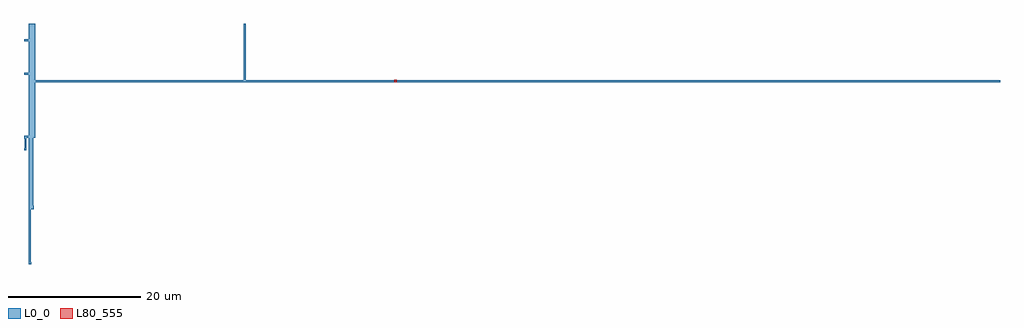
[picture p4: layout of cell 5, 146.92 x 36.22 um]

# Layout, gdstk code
import gdstk
lib = gdstk.Library(unit=1e-6, precision=1e-09)
def P(c, l, *ps):  # polygons
    for p in ps: c.add(gdstk.Polygon(p, *l))
L0_0 = (0, 0)
L80_555 = (80, 555)

c_5 = lib.new_cell('5')
P(c_5, L0_0, [(1200.93,747.59),(1201.47,747.59),(1201.47,747.05),(1200.93,747.05),(1200.93,747.59)],
  [(1201.42,775),(1201.42,747.1),(1200.98,747.1),(1200.98,775),(1201.42,775)],
  [(1200.02,756.26),(1200.095,756.26),(1200.095,756.395),(1200.13,756.395),(1200.13,757.71),(1200.02,757.71),(1200.02,758.05),(1200.36,758.05),(1200.36,755.92),(1200.02,755.92),(1200.02,756.26)],
  [(1200.02,758.1),(1200.4,758.1),(1200.4,757.82),(1200.02,757.82),(1200.02,758.1)],
  [(1201.02,772.88),(1201.02,770.75),(1200.68,770.75),(1200.68,771.09),(1200.79,771.09),(1200.79,772.405),(1200.755,772.405),(1200.755,772.54),(1200.68,772.54),(1200.68,772.88),(1201.02,772.88)],
  [(1200.68,772.66),(1201.06,772.66),(1201.06,772.38),(1200.68,772.38),(1200.68,772.66)],
  [(1201.67,775),(1201.67,757.82),(1201.39,757.82),(1201.39,775),(1201.67,775)],
  [(1200.07,758.1),(1201.67,758.1),(1201.67,757.82),(1200.07,757.82),(1200.07,758.1)],
  [(1200.02,758.1),(1200.4,758.1),(1200.4,757.82),(1200.02,757.82),(1200.02,758.1)],
  [(1200.02,758.1),(1200.4,758.1),(1200.4,757.82),(1200.02,757.82),(1200.02,758.1)],
  [(1200.07,758.1),(1201.67,758.1),(1201.67,757.82),(1200.07,757.82),(1200.07,758.1)],
  [(1200.68,772.66),(1201.06,772.66),(1201.06,772.38),(1200.68,772.38),(1200.68,772.66)],
  [(1200.73,772.89),(1201.01,772.89),(1201.01,772.15),(1200.73,772.15),(1200.73,772.89)],
  [(1200,772.66),(1201.01,772.66),(1201.01,772.38),(1200,772.38),(1200,772.66)],
  [(1200.68,772.66),(1201.06,772.66),(1201.06,772.38),(1200.68,772.38),(1200.68,772.66)],
  [(1201.34,766.5),(1201.72,766.5),(1201.72,766.22),(1201.34,766.22),(1201.34,766.5)],
  [(1201.39,766.5),(1268.33,766.5),(1268.33,766.22),(1201.39,766.22),(1201.39,766.5)],
  [(1268,766.5),(1268.38,766.5),(1268.38,766.22),(1268,766.22),(1268,766.5)],
  [(1200,767.62),(1201.67,767.62),(1201.67,767.34),(1200,767.34),(1200,767.62)],
  [(1201.34,767.62),(1201.72,767.62),(1201.72,767.34),(1201.34,767.34),(1201.34,767.62)],
  [(1201.34,767.62),(1201.72,767.62),(1201.72,767.34),(1201.34,767.34),(1201.34,767.62)],
  [(1201.67,775),(1201.67,767.34),(1201.39,767.34),(1201.39,775),(1201.67,775)],
  [(1200.73,766.5),(1201.67,766.5),(1201.67,766.22),(1200.73,766.22),(1200.73,766.5)],
  [(1201.01,775),(1201.01,766.22),(1200.73,766.22),(1200.73,775),(1201.01,775)],
  [(1200.73,738.78),(1200.73,766.5),(1201.01,766.5),(1201.01,738.78),(1200.73,738.78)],
  [(1200.68,739.06),(1201.06,739.06),(1201.06,738.78),(1200.68,738.78),(1200.68,739.06)],
  [(1201.34,766.5),(1201.72,766.5),(1201.72,766.22),(1201.34,766.22),(1201.34,766.5)],
  [(1268.66,766.5),(1269.04,766.5),(1269.04,766.22),(1268.66,766.22),(1268.66,766.5)],
  [(1268.05,766.5),(1268.99,766.5),(1268.99,766.22),(1268.05,766.22),(1268.05,766.5)],
  [(1268,766.5),(1268.38,766.5),(1268.38,766.22),(1268,766.22),(1268,766.5)],
  [(1201.01,775),(1201.01,766.22),(1200.73,766.22),(1200.73,775),(1201.01,775)],
  [(1200.73,738.78),(1200.73,766.5),(1201.01,766.5),(1201.01,738.78),(1200.73,738.78)],
  [(1233.02,766.5),(1233.4,766.5),(1233.4,766.22),(1233.02,766.22),(1233.02,766.5)],
  [(1233.35,775),(1233.35,766.22),(1233.07,766.22),(1233.07,775),(1233.35,775)],
  [(1233.07,766.5),(1346.87,766.5),(1346.87,766.22),(1233.07,766.22),(1233.07,766.5)],
  [(1346.54,766.5),(1346.92,766.5),(1346.92,766.22),(1346.54,766.22),(1346.54,766.5)],
  [(1233.02,766.5),(1233.4,766.5),(1233.4,766.22),(1233.02,766.22),(1233.02,766.5)])
P(c_5, L80_555, [(1255.721,766.153),(1255.721,766.553),(1256.121,766.553),(1256.121,766.153),(1255.721,766.153)])

lib.write_gds('5.gds')
